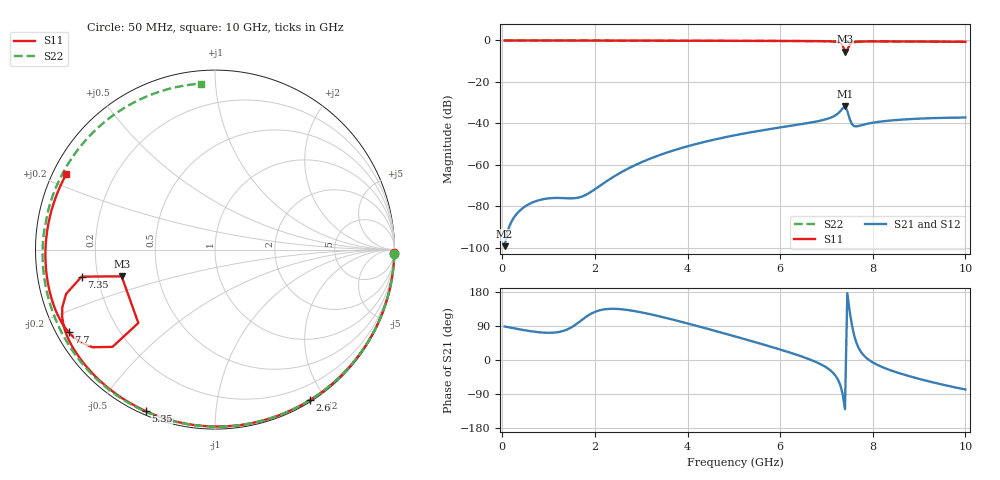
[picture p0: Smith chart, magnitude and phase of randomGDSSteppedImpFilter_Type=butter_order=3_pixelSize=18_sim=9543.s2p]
! freq	dB(S11)	phase(S11)	dB(S12)	phase(S12)
!  dB(S21)	phase(S21)	dB(S22)	phase(S22)
!S-par simulation data
#  GHz  S  DB  R 50
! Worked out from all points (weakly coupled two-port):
!   200 points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, 50 MHz to 10 GHz, reference 50 ohm
!   highest |S21| = -31.84 dB at 7.4 GHz (marker M1); lowest = -99.2 dB at 50 MHz (marker M2)
!   lowest |S11| = -5.3 dB at 7.4 GHz (marker M3), VSWR 3.36, Z = 15.2 - j6.38 ohm
!   |S11| at or under -10 dB: nowhere
!   |S22| runs from -0.6 to 0.0 dB; largest |S21 - S12| = 0
!   S11 on the Smith chart (normalised r, x): 50 MHz: 1, -99; 2.6 GHz: 0.02, -1.82; 5.35 GHz: 0.02, -0.66; 7.35 GHz: 0.14, -0.10; 7.7 GHz: 0.04, -0.26; 10 GHz: 0.04, +0.24
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0.05  -0.00 -1.2  -99.17 88.5  -99.17 88.5  -0.00 -1.4
0.5  -0.01 -11.4  -79.90 78.2  -79.90 78.2  -0.02 -14.2
0.85  -0.02 -19.3  -76.68 72.6  -76.68 72.6  -0.03 -24.0
1.75  -0.05 -39.3  -75.00 108.6  -75.00 108.6  -0.06 -48.7
2.6  -0.07 -57.6  -63.14 133.6  -63.14 133.6  -0.09 -71.1
3.4  -0.10 -74.3  -55.24 115.0  -55.24 115.0  -0.12 -91.3
4.2  -0.13 -90.5  -49.83 90.0  -49.83 90.0  -0.15 -110.8
5.05  -0.17 -107.3  -45.59 61.4  -45.59 61.4  -0.20 -131.0
5.35  -0.18 -113.2  -44.34 51.0  -44.34 51.0  -0.21 -138.1
6.7  -0.30 -140.7  -39.41 -1.6  -39.41 -1.6  -0.32 -170.4
7.15  -0.52 -153.8  -36.64 -34.9  -36.64 -34.9  -0.36 178.4
7.3  -1.26 -163.5  -34.09 -66.5  -34.09 -66.5  -0.37 174.5
7.35  -2.40 -168.5  -32.71 -89.7  -32.71 -89.7  -0.38 173.2
7.4  -5.34 -164.0  -31.84 -129.8  -31.84 -129.8  -0.40 171.9
7.45  -4.56 -136.2  -33.90 176.4  -33.90 176.4  -0.41 170.7
7.5  -2.08 -136.5  -37.77 129.7  -37.77 129.7  -0.40 169.5
7.55  -1.18 -141.4  -40.39 92.2  -40.39 92.2  -0.40 168.2
7.6  -0.83 -145.3  -41.36 63.9  -41.36 63.9  -0.41 166.8
7.7  -0.57 -150.5  -41.19 30.4  -41.19 30.4  -0.41 164.2
8.35  -0.45 -168.3  -38.66 -25.6  -38.66 -25.6  -0.48 146.3
9.25  -0.54 171.2  -37.47 -57.6  -37.47 -57.6  -0.57 119.4
10  -0.64 153.2  -37.16 -77.7  -37.16 -77.7  -0.65 94.8
